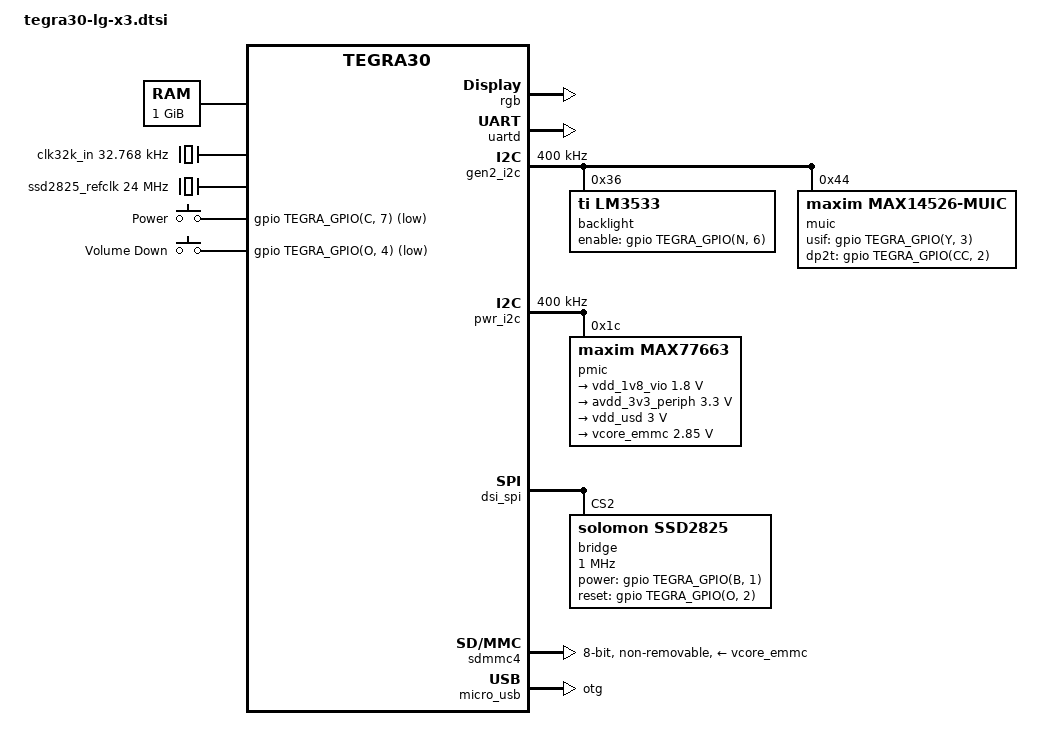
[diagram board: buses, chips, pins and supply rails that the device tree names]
// SPDX-License-Identifier: GPL-2.0

#include <dt-bindings/input/input.h>
#include "tegra30.dtsi"

/ {
	chosen {
		stdout-path = &uartd;
	};

	aliases {
		i2c0 = &pwr_i2c;
		i2c1 = &gen2_i2c;

		mmc0 = &sdmmc4;	/* eMMC */

		rtc0 = &pmic;
		rtc1 = "/rtc@7000e000";

		spi0 = &dsi_spi;

		usb0 = &micro_usb;
	};

	memory {
		device_type = "memory";
		reg = <0x80000000 0x40000000>;
	};

	host1x@50000000 {
		dc@54200000 {
			rgb {
				status = "okay";

				nvidia,panel = <&bridge>;
			};
		};
	};

	uartd: serial@70006300 {
		status = "okay";
	};

	gen2_i2c: i2c@7000c400 {
		status = "okay";
		clock-frequency = <400000>;

		backlight: lm3533@36 {
			compatible = "ti,lm3533";
			reg = <0x36>;

			enable-gpios = <&gpio TEGRA_GPIO(N, 6) GPIO_ACTIVE_HIGH>;
			default-brightness-level = <128>;
		};

		muic@44 {
			compatible = "maxim,max14526-muic";
			reg = <0x44>;

			maxim,ap-usb;

			usif-gpios = <&gpio TEGRA_GPIO(Y, 3) GPIO_ACTIVE_HIGH>;
			dp2t-gpios = <&gpio TEGRA_GPIO(CC, 2) GPIO_ACTIVE_HIGH>;
		};
	};

	pwr_i2c: i2c@7000d000 {
		status = "okay";
		clock-frequency = <400000>;

		pmic: max77663@1c {
			compatible = "maxim,max77663";
			reg = <0x1c>;

			interrupts = <GIC_SPI 86 IRQ_TYPE_LEVEL_HIGH>;
			#interrupt-cells = <2>;
			interrupt-controller;

			#gpio-cells = <2>;
			gpio-controller;

			system-power-controller;

			regulators {
				vdd_1v8_vio: sd2 {
					regulator-name = "vdd_1v8_gen";
					regulator-min-microvolt = <1800000>;
					regulator-max-microvolt = <1800000>;
					regulator-always-on;
					regulator-boot-on;
				};

				avdd_3v3_periph: ldo2 {
					regulator-name = "avdd_usb";
					regulator-min-microvolt = <3300000>;
					regulator-max-microvolt = <3300000>;
					regulator-always-on;
					regulator-boot-on;
				};

				vdd_usd: ldo3 {
					regulator-name = "vdd_sdmmc3";
					regulator-min-microvolt = <3000000>;
					regulator-max-microvolt = <3000000>;
					regulator-always-on;
					regulator-boot-on;
				};

				vcore_emmc: ldo5 {
					regulator-name = "vdd_ddr_rx";
					regulator-min-microvolt = <2850000>;
					regulator-max-microvolt = <2850000>;
				};
			};
		};
	};

	dsi_spi: spi@7000dc00 {
		status = "okay";
		spi-max-frequency = <25000000>;

		bridge: bridge-spi@2 {
			compatible = "solomon,ssd2825";
			reg = <2>;

			spi-cpol;
			spi-cpha;

			spi-max-frequency = <1000000>;

			power-gpios = <&gpio TEGRA_GPIO(B, 1) GPIO_ACTIVE_HIGH>;
			reset-gpios = <&gpio TEGRA_GPIO(O, 2) GPIO_ACTIVE_HIGH>;

			clocks = <&ssd2825_refclk>;
			clock-names = "tx_clk";

			panel = <&panel>;
		};
	};

	sdmmc4: sdhci@78000600 {
		status = "okay";
		bus-width = <8>;
		non-removable;

		vmmc-supply = <&vcore_emmc>;
		vqmmc-supply = <&vdd_1v8_vio>;
	};

	micro_usb: usb@7d000000 {
		status = "okay";
		dr_mode = "otg";
	};

	/* PMIC has a built-in 32KHz oscillator which is used by PMC */
	clk32k_in: clock-32k {
		compatible = "fixed-clock";
		#clock-cells = <0>;
		clock-frequency = <32768>;
		clock-output-names = "pmic-oscillator";
	};

	ssd2825_refclk: clock-ssd2825 {
		compatible = "fixed-clock";
		#clock-cells = <0>;
		clock-frequency = <24000000>;
		clock-output-names = "ssd2825-refclk";
	};

	gpio-keys {
		compatible = "gpio-keys";

		key-power {
			label = "Power";
			gpios = <&gpio TEGRA_GPIO(C, 7) GPIO_ACTIVE_LOW>;
			linux,code = <KEY_ENTER>;
		};

		key-volume-down {
			label = "Volume Down";
			gpios = <&gpio TEGRA_GPIO(O, 4) GPIO_ACTIVE_LOW>;
			linux,code = <KEY_DOWN>;
		};
	};
};
